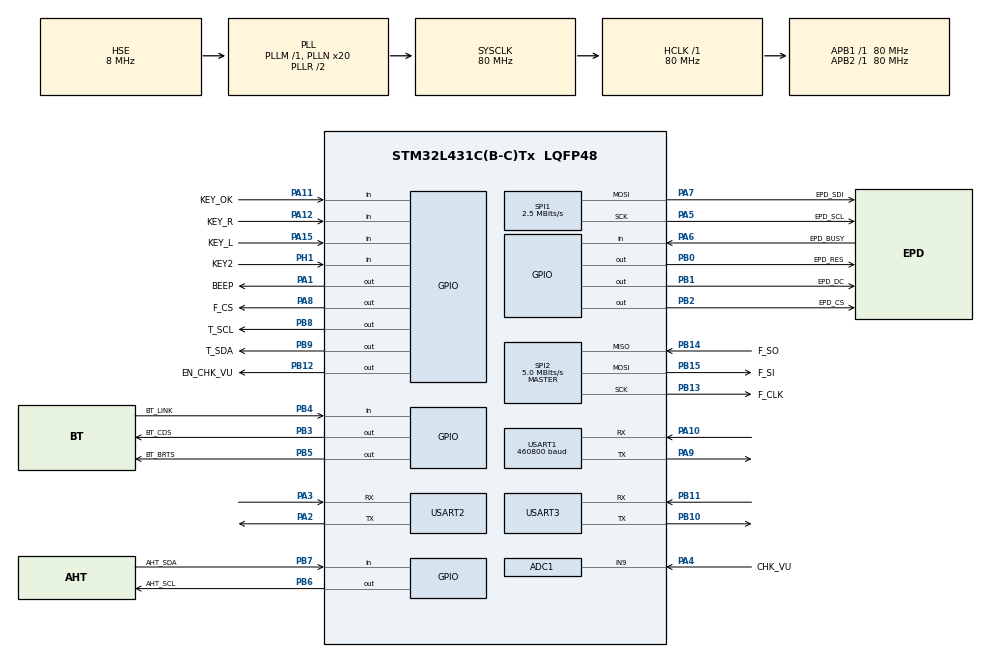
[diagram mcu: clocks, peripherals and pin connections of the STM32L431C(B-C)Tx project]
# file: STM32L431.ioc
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ADC1.Channel-1\#ChannelRegularConversion=ADC_CHANNEL_9
ADC1.NbrOfConversionFlag=1
ADC1.OffsetNumber-1\#ChannelRegularConversion=ADC_OFFSET_NONE
ADC1.Rank-1\#ChannelRegularConversion=1
ADC1.SamplingTime-1\#ChannelRegularConversion=ADC_SAMPLETIME_12CYCLES_5
ADC1.master=1
Dma.Request0=USART1_RX
Dma.Request1=USART1_TX
Dma.USART1_RX.0.Direction=DMA_PERIPH_TO_MEMORY
Dma.USART1_RX.0.Instance=DMA1_Channel5
Dma.USART1_RX.0.MemDataAlignment=DMA_MDATAALIGN_BYTE
Dma.USART1_RX.0.MemInc=DMA_MINC_ENABLE
Dma.USART1_RX.0.Mode=DMA_CIRCULAR
Dma.USART1_RX.0.PeriphDataAlignment=DMA_PDATAALIGN_BYTE
Dma.USART1_RX.0.PeriphInc=DMA_PINC_DISABLE
Dma.USART1_RX.0.Priority=DMA_PRIORITY_LOW
Dma.USART1_TX.1.Direction=DMA_MEMORY_TO_PERIPH
Dma.USART1_TX.1.Instance=DMA1_Channel4
Dma.USART1_TX.1.MemDataAlignment=DMA_MDATAALIGN_BYTE
Dma.USART1_TX.1.MemInc=DMA_MINC_ENABLE
Dma.USART1_TX.1.Mode=DMA_NORMAL
Dma.USART1_TX.1.PeriphDataAlignment=DMA_PDATAALIGN_BYTE
Dma.USART1_TX.1.PeriphInc=DMA_PINC_DISABLE
Dma.USART1_TX.1.Priority=DMA_PRIORITY_LOW
FREERTOS.Tasks01=defaultTask,0,128,StartDefaultTask,Default,NULL,Dynamic,NULL,NULL
FREERTOS.configMAX_PRIORITIES=16
FREERTOS.configTOTAL_HEAP_SIZE=15360
FREERTOS.configUSE_TICKLESS_IDLE=1
Mcu.Family=STM32L4
Mcu.Name=STM32L431C(B-C)Tx
Mcu.Package=LQFP48
NVIC.DMA1_Channel4_IRQn=true\:5\:0\:true\:false\:true\:true\:false\:true\:true
NVIC.DMA1_Channel5_IRQn=true\:6\:0\:true\:false\:true\:true\:false\:true\:true
NVIC.PriorityGroup=NVIC_PRIORITYGROUP_4
NVIC.TIM6_DAC_IRQn=true\:15\:0\:false\:false\:true\:false\:false\:true\:true
NVIC.TimeBase=TIM6_DAC_IRQn
NVIC.TimeBaseIP=TIM6
NVIC.USART1_IRQn=true\:7\:0\:true\:false\:true\:true\:true\:true\:true
NVIC.USART2_IRQn=true\:7\:0\:true\:false\:true\:true\:true\:true\:true
NVIC.USART3_IRQn=true\:8\:0\:true\:false\:true\:true\:true\:true\:true
PA0.GPIO_Label=KEY1_WKUP
PA0.Mode=SYS_WakeUp0
PA0.Signal=SYS_WKUP1
PA1.GPIO_Label=BEEP
PA1.GPIO_ModeDefaultOutputPP=GPIO_MODE_OUTPUT_PP
PA1.GPIO_PuPd=GPIO_PULLUP
PA1.GPIO_Speed=GPIO_SPEED_FREQ_HIGH
PA1.PinState=GPIO_PIN_RESET
PA1.Signal=GPIO_Output
PA10.Mode=Asynchronous
PA10.Signal=USART1_RX
PA11.GPIO_Label=KEY_OK
PA11.GPIO_PuPd=GPIO_PULLUP
PA11.Signal=GPIO_Input
PA12.GPIO_Label=KEY_R
PA12.GPIO_PuPd=GPIO_PULLUP
PA12.Signal=GPIO_Input
PA13\ (JTMS-SWDIO).Mode=Serial_Wire
PA13\ (JTMS-SWDIO).Signal=SYS_JTMS-SWDIO
PA14\ (JTCK-SWCLK).Mode=Serial_Wire
PA14\ (JTCK-SWCLK).Signal=SYS_JTCK-SWCLK
PA15\ (JTDI).GPIO_Label=KEY_L
PA15\ (JTDI).GPIO_PuPd=GPIO_PULLUP
PA15\ (JTDI).Signal=GPIO_Input
PA2.Mode=Asynchronous
PA2.Signal=USART2_TX
PA3.Mode=Asynchronous
PA3.Signal=USART2_RX
PA4.GPIO_Label=CHK_VU
PA4.Signal=ADCx_IN9
PA5.GPIO_Label=EPD_SCL
PA5.Mode=TX_Only_Simplex_Unidirect_Master
PA5.Signal=SPI1_SCK
PA6.GPIO_Label=EPD_BUSY
PA6.GPIO_PuPd=GPIO_PULLDOWN
PA6.Signal=GPIO_Input
PA7.GPIO_Label=EPD_SDI
PA7.Mode=TX_Only_Simplex_Unidirect_Master
PA7.Signal=SPI1_MOSI
PA8.GPIO_Label=F_CS
PA8.GPIO_Speed=GPIO_SPEED_FREQ_HIGH
PA8.Signal=GPIO_Output
PA9.Mode=Asynchronous
PA9.Signal=USART1_TX
PB0.GPIO_Label=EPD_RES
PB0.GPIO_Speed=GPIO_SPEED_FREQ_HIGH
PB0.PinState=GPIO_PIN_RESET
PB0.Signal=GPIO_Output
PB1.GPIO_Label=EPD_DC
PB1.GPIO_Speed=GPIO_SPEED_FREQ_HIGH
PB1.Signal=GPIO_Output
PB10.Mode=Asynchronous
PB10.Signal=USART3_TX
PB11.Mode=Asynchronous
PB11.Signal=USART3_RX
PB12.GPIO_Label=EN_CHK_VU
PB12.GPIO_Speed=GPIO_SPEED_FREQ_HIGH
PB12.Signal=GPIO_Output
PB13.GPIO_Label=F_CLK
PB13.Mode=Full_Duplex_Master
PB13.Signal=SPI2_SCK
PB14.GPIO_Label=F_SO
PB14.Mode=Full_Duplex_Master
PB14.Signal=SPI2_MISO
PB15.GPIO_Label=F_SI
PB15.Mode=Full_Duplex_Master
PB15.Signal=SPI2_MOSI
PB2.GPIO_Label=EPD_CS
PB2.GPIO_Speed=GPIO_SPEED_FREQ_HIGH
PB2.Signal=GPIO_Output
PB3\ (JTDO-TRACESWO).GPIO_Label=BT_CDS
PB3\ (JTDO-TRACESWO).GPIO_ModeDefaultOutputPP=GPIO_MODE_OUTPUT_PP
PB3\ (JTDO-TRACESWO).GPIO_PuPd=GPIO_NOPULL
PB3\ (JTDO-TRACESWO).GPIO_Speed=GPIO_SPEED_FREQ_LOW
PB3\ (JTDO-TRACESWO).PinState=GPIO_PIN_SET
PB3\ (JTDO-TRACESWO).Signal=GPIO_Output
PB4\ (NJTRST).GPIO_Label=BT_LINK
PB4\ (NJTRST).Signal=GPIO_Input
PB5.GPIO_Label=BT_BRTS
PB5.GPIO_PuPd=GPIO_NOPULL
PB5.GPIO_Speed=GPIO_SPEED_FREQ_LOW
PB5.Signal=GPIO_Output
PB6.GPIO_Label=AHT_SCL
PB6.GPIO_Speed=GPIO_SPEED_FREQ_HIGH
PB6.Signal=GPIO_Output
PB7.GPIO_Label=AHT_SDA
PB7.Signal=GPIO_Input
PB8.GPIO_Label=T_SCL
PB8.GPIO_ModeDefaultOutputPP=GPIO_MODE_OUTPUT_OD
PB8.GPIO_PuPd=GPIO_PULLUP
PB8.GPIO_Speed=GPIO_SPEED_FREQ_HIGH
PB8.Signal=GPIO_Output
PB9.GPIO_Label=T_SDA
PB9.GPIO_ModeDefaultOutputPP=GPIO_MODE_OUTPUT_OD
PB9.GPIO_PuPd=GPIO_PULLUP
PB9.GPIO_Speed=GPIO_SPEED_FREQ_HIGH
PB9.Signal=GPIO_Output
PC13.GPIO_Label=T_SQW
PC13.Mode=SYS_WakeUp1
PC13.Signal=SYS_WKUP2
PC14-OSC32_IN\ (PC14).Mode=LSE-External-Oscillator
PC14-OSC32_IN\ (PC14).Signal=RCC_OSC32_IN
PC15-OSC32_OUT\ (PC15).Mode=LSE-External-Oscillator
PC15-OSC32_OUT\ (PC15).Signal=RCC_OSC32_OUT
PH0-OSC_IN\ (PH0).Mode=HSE-External-Clock-Source
PH0-OSC_IN\ (PH0).Signal=RCC_OSC_IN
PH1-OSC_OUT\ (PH1).GPIO_Label=KEY2
PH1-OSC_OUT\ (PH1).Signal=GPIO_Input
ProjectManager.HeapSize=0x400
ProjectManager.StackSize=0x800
ProjectManager.TargetToolchain=MDK-ARM V5.32
RCC.ADCFreq_Value=80000000
RCC.AHBFreq_Value=80000000
RCC.APB1Freq_Value=80000000
RCC.APB1TimFreq_Value=80000000
RCC.APB2Freq_Value=80000000
RCC.APB2TimFreq_Value=80000000
RCC.CortexFreq_Value=80000000
RCC.HCLKFreq_Value=80000000
RCC.HSE_VALUE=8000000
RCC.HSI48_VALUE=48000000
RCC.HSI_VALUE=16000000
RCC.MSI_VALUE=4000000
RCC.PLLN=20
RCC.PLLSAI1N=20
RCC.PLLSourceVirtual=RCC_PLLSOURCE_HSE
RCC.RTCClockSelection=RCC_RTCCLKSOURCE_LSE
RCC.SYSCLKFreq_VALUE=80000000
RCC.SYSCLKSource=RCC_SYSCLKSOURCE_PLLCLK
RCC.VCOOutputFreq_Value=160000000
RTC.Date=15
RTC.Format=RTC_FORMAT_BIN
RTC.Hours=17
RTC.Minutes=45
RTC.Month=RTC_MONTH_FEBRUARY
RTC.Seconds=23
RTC.WeekDay=RTC_WEEKDAY_SATURDAY
RTC.Year=25
SH.ADCx_IN9.0=ADC1_IN9,IN9-Single-Ended
SPI1.BaudRatePrescaler=SPI_BAUDRATEPRESCALER_32
SPI1.CalculateBaudRate=2.5 MBits/s
SPI1.DataSize=SPI_DATASIZE_8BIT
SPI1.Direction=SPI_DIRECTION_2LINES
SPI1.Mode=SPI_MODE_MASTER
SPI1.NSSPMode=SPI_NSS_PULSE_ENABLE
SPI1.VirtualType=VM_MASTER
SPI2.BaudRatePrescaler=SPI_BAUDRATEPRESCALER_16
SPI2.CLKPhase=SPI_PHASE_1EDGE
SPI2.CalculateBaudRate=5.0 MBits/s
SPI2.DataSize=SPI_DATASIZE_8BIT
SPI2.Direction=SPI_DIRECTION_2LINES
SPI2.Mode=SPI_MODE_MASTER
SPI2.VirtualType=VM_MASTER
USART1.BaudRate=460800
USART1.VirtualMode-Asynchronous=VM_ASYNC
USART2.VirtualMode-Asynchronous=VM_ASYNC
USART3.VirtualMode-Asynchronous=VM_ASYNC
VP_FREERTOS_VS_CMSIS_V1.Mode=CMSIS_V1
VP_RTC_VS_RTC_Activate.Mode=RTC_Enabled
VP_RTC_VS_RTC_Calendar.Mode=RTC_Calendar
VP_SYS_VS_tim6.Mode=TIM6
board=custom

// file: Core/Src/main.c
/* USER CODE BEGIN Header */
/**
  ******************************************************************************
  * @file           : main.c
  * @brief          : Main program body
  ******************************************************************************
  * @attention
  *
  * Copyright (c) 2025 STMicroelectronics.
  * All rights reserved.
  *
  * This software is licensed under terms that can be found in the LICENSE file
  * in the root directory of this software component.
  * If no LICENSE file comes with this software, it is provided AS-IS.
  *
  ******************************************************************************
  */
/* USER CODE END Header */
#include "main.h"
#include "cmsis_os.h"
#include "adc.h"
#include "dma.h"
#include "rtc.h"
#include "spi.h"
#include "usart.h"
#include "gpio.h"

/* USER CODE BEGIN Includes */

#include "aht20.h"
#include "ds1307.h"
#include "w25qxx.h"
#include "DEV_Config.h"
#include "Command.h"
#include "GUI_Paint.h"
#include "Button.h"
/* USER CODE END Includes */

void SystemClock_Config(void);
void MX_FREERTOS_Init(void);
/* USER CODE BEGIN PFP */
TaskHandle_t StartTask_Handler;
void start_task(void *pvParameters);
TaskHandle_t ADC_Value_Handle;
void ADC_Value(void *pvParameters);
TaskHandle_t EPD_test_Handle;
void EPD_test(void *pvParameters);
TaskHandle_t EXP_test_Handle;
void EXP_test(void *pvParameters);

void Get_RTC_Time(void);
/* USER CODE END PFP */

int main(void)
{

  /* MCU Configuration--------------------------------------------------------*/

  /* Reset of all peripherals, Initializes the Flash interface and the Systick. */
  HAL_Init();

  /* Configure the system clock */
  SystemClock_Config();

  /* Initialize all configured peripherals */
  MX_GPIO_Init();
  MX_DMA_Init();
  MX_ADC1_Init();
  MX_SPI1_Init();
  MX_SPI2_Init();
  MX_USART1_UART_Init();
  MX_USART2_UART_Init();
  MX_USART3_UART_Init();
  MX_RTC_Init();
  /* USER CODE BEGIN 2 */
	DWT_Init();
	AHT20_Init();
	W25QXX_Init();
	HAL_GPIO_WritePin(BT_CDS_GPIO_Port,BT_CDS_Pin,GPIO_PIN_SET);
	HAL_GPIO_WritePin(BT_BRTS_GPIO_Port,BT_BRTS_Pin,GPIO_PIN_RESET);
	HAL_GPIO_WritePin(EN_CHK_VU_GPIO_Port,EN_CHK_VU_Pin,GPIO_PIN_SET);
//	HAL_GPIO_WritePin(BEEP_GPIO_Port,BEEP_Pin,GPIO_PIN_SET);

  /* USER CODE END 2 */

  /* Call init function for freertos objects (in freertos.c) */
  MX_FREERTOS_Init();

  /* Start scheduler */
//  osKernelStart();
  /* We should never get here as control is now taken by the scheduler */
  /* Infinite loop */
  /* USER CODE BEGIN WHILE */
    xTaskCreate((TaskFunction_t )start_task,
                (const char*    )"start_task",
                (uint16_t       )128,
                (void*          )NULL,
                (UBaseType_t    )1,
                (TaskHandle_t*  )&StartTask_Handler);
    osKernelStart();
  while (1)
  {
    /* USER CODE END WHILE */

  }
}

void SystemClock_Config(void)
{
  RCC_OscInitTypeDef RCC_OscInitStruct = {0};
  RCC_ClkInitTypeDef RCC_ClkInitStruct = {0};

  /** Configure the main internal regulator output voltage
  */
  if (HAL_PWREx_ControlVoltageScaling(PWR_REGULATOR_VOLTAGE_SCALE1) != HAL_OK)
  {
    Error_Handler();
  }

  /** Configure LSE Drive Capability
  */
  HAL_PWR_EnableBkUpAccess();
  __HAL_RCC_LSEDRIVE_CONFIG(RCC_LSEDRIVE_LOW);

  /** Initializes the RCC Oscillators according to the specified parameters
  * in the RCC_OscInitTypeDef structure.
  */
  RCC_OscInitStruct.OscillatorType = RCC_OSCILLATORTYPE_HSE|RCC_OSCILLATORTYPE_LSE;
  RCC_OscInitStruct.HSEState = RCC_HSE_BYPASS;
  RCC_OscInitStruct.LSEState = RCC_LSE_ON;
  RCC_OscInitStruct.PLL.PLLState = RCC_PLL_ON;
  RCC_OscInitStruct.PLL.PLLSource = RCC_PLLSOURCE_HSE;
  RCC_OscInitStruct.PLL.PLLM = 1;
  RCC_OscInitStruct.PLL.PLLN = 20;
  RCC_OscInitStruct.PLL.PLLP = RCC_PLLP_DIV7;
  RCC_OscInitStruct.PLL.PLLQ = RCC_PLLQ_DIV2;
  RCC_OscInitStruct.PLL.PLLR = RCC_PLLR_DIV2;
  if (HAL_RCC_OscConfig(&RCC_OscInitStruct) != HAL_OK)
  {
    Error_Handler();
  }

  /** Initializes the CPU, AHB and APB buses clocks
  */
  RCC_ClkInitStruct.ClockType = RCC_CLOCKTYPE_HCLK|RCC_CLOCKTYPE_SYSCLK
                              |RCC_CLOCKTYPE_PCLK1|RCC_CLOCKTYPE_PCLK2;
  RCC_ClkInitStruct.SYSCLKSource = RCC_SYSCLKSOURCE_PLLCLK;
  RCC_ClkInitStruct.AHBCLKDivider = RCC_SYSCLK_DIV1;
  RCC_ClkInitStruct.APB1CLKDivider = RCC_HCLK_DIV1;
  RCC_ClkInitStruct.APB2CLKDivider = RCC_HCLK_DIV1;

  if (HAL_RCC_ClockConfig(&RCC_ClkInitStruct, FLASH_LATENCY_4) != HAL_OK)
  {
    Error_Handler();
  }
}

/* USER CODE BEGIN 4 */

void start_task(void *pvParameters)
{
		printf("start_task Run \r\n");
    taskENTER_CRITICAL();
    xTaskCreate((TaskFunction_t )ADC_Value,
                (const char*    )"ADC_Value",
                (uint16_t       )128,
                (void*          )NULL,
                (UBaseType_t    )2,
                (TaskHandle_t*  )&ADC_Value_Handle);
    xTaskCreate((TaskFunction_t )EXP_test,
                (const char*    )"EXP_test",
                (uint16_t       )128,
                (void*          )NULL,
                (UBaseType_t    )2,
                (TaskHandle_t*  )&EXP_test_Handle);
    xTaskCreate((TaskFunction_t )ButtonTask,
                (const char*    )"ButtonTask",
                (uint16_t       )128,
                (void*          )NULL,
                (UBaseType_t    )2,
									NULL
                );
    xTaskCreate((TaskFunction_t )EPD_test,
                (const char*    )"EPD_test",
                (uint16_t       )128,
                (void*          )&EPD_test_Handle,
                (UBaseType_t    )2,
									NULL
                );
								taskEXIT_CRITICAL();
				vTaskDelete(StartTask_Handler);
}

void ADC_Value(void *pvParameters)
{
		uint16_t cont = 0;
		uint16_t ADC_Value;
	while(1)
	{
		HAL_ADC_Start(&hadc1);
	  HAL_ADC_PollForConversion(&hadc1,50);
	  if(HAL_IS_BIT_SET(HAL_ADC_GetState(&hadc1), HAL_ADC_STATE_REG_EOC))
	  {
			ADC_Value = HAL_ADC_GetValue(&hadc1);
	  }
		printf(" AD1 value = %1.3fV \r\n", ADC_Value*2.45f/4096*2);
		vTaskDelay(pdMS_TO_TICKS(1000));
		cont++;
		if(cont==5)
		{
			HAL_GPIO_WritePin(EN_CHK_VU_GPIO_Port,EN_CHK_VU_Pin,GPIO_PIN_RESET);
		}
		else if(cont ==10)
		{
			cont = 0;
			HAL_GPIO_WritePin(EN_CHK_VU_GPIO_Port,EN_CHK_VU_Pin,GPIO_PIN_SET);
		}
		HAL_ADC_Stop(&hadc1);
	}
}

void EPD_test(void *pvParameters)
{
	DEV_Module_Init();
	EPD_4IN2_V2_Init();
	EPD_4IN2_V2_Clear();
	vTaskDelay(pdMS_TO_TICKS(1000));
	uint8_t *BlackImage;
	BlackImage = mymalloc(SRAMIN, ((EPD_4IN2_V2_WIDTH % 8 == 0) ? (EPD_4IN2_V2_WIDTH / 8) : (EPD_4IN2_V2_WIDTH / 8 + 1)) * EPD_4IN2_V2_HEIGHT);
	if (BlackImage == NULL)
	{
			printf("Failed to apply for black memory...\r\n");
	}

	Paint_NewImage(BlackImage, EPD_4IN2_V2_WIDTH, EPD_4IN2_V2_HEIGHT, 0, EPD_WHITE);
	Paint_SelectImage(BlackImage);
	Paint_Clear(EPD_WHITE);
	Paint_Show_Str(120,130,"Hello STM32 !!!",24,1,0);
	EPD_4IN2_V2_Display(BlackImage);
	myfree(SRAMIN,BlackImage);
	vTaskDelete(EPD_test_Handle);
}

void EXP_test(void *pvParameters)
{
		AHT20_Data aht20_data;
	while(1)
	{
		vTaskDelay(pdMS_TO_TICKS(1000));
//	W25QXX_Write(char1,0x0000,sizeof(char1));
		uint8_t *char2;
		char2 = mymalloc(SRAMIN, 128);
		W25QXX_Read(char2,0x0000,128);
		printf("%s",char2);
		AHT20_ReadData(&aht20_data);
		printf("humidity: %f\r\n",aht20_data.humidity);
		printf("temp: %f\r\n",aht20_data.temperature);
		Get_RTC_Time();
		myfree(SRAMIN,char2);
	}
}

void Get_RTC_Time(void)
{
    RTC_TimeTypeDef sTime = {0};
    RTC_DateTypeDef sDate = {0};

    // ��ȡʱ�������
    HAL_RTC_GetTime(&hrtc, &sTime, RTC_FORMAT_BIN);
    HAL_RTC_GetDate(&hrtc, &sDate, RTC_FORMAT_BIN);

    // ��ӡʱ�������
    printf("Time: %02d:%02d:%02d\n", sTime.Hours, sTime.Minutes, sTime.Seconds);
    printf("Date: %02d-%02d-%02d\n", sDate.Year, sDate.Month, sDate.Date);
}

/* USER CODE END 4 */

void HAL_TIM_PeriodElapsedCallback(TIM_HandleTypeDef *htim)
{
  if (htim->Instance == TIM6) {
    HAL_IncTick();
  }
}

void Error_Handler(void)
{
  __disable_irq();
  while (1)
  {
  }
}
